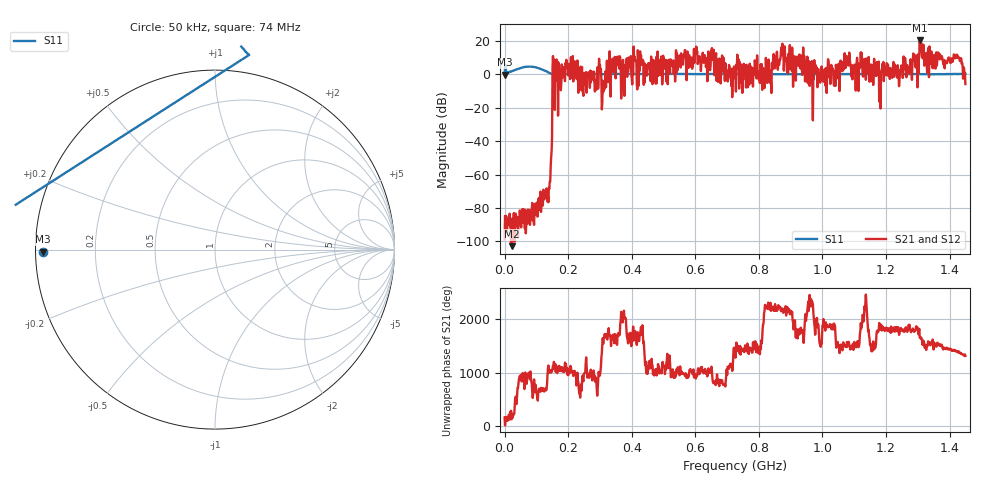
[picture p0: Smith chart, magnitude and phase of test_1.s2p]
! Created with skrf 1.11.0 (http://scikit-rf.org).
# Hz S RI R 50.0
!freq ReS11 ImS11 ReS21 ImS21 ReS12 ImS12 ReS22 ImS22
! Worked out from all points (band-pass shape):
!   1001 points, 50 kHz to 1.45 GHz, reference 50 ohm
!   highest |S21| = 20.14 dB at 1.306 GHz (marker M1); lowest = -102.8 dB at 23.25 MHz (marker M2)
!   |S21| within 3 dB of the highest: 873.9087 MHz to 874.592 MHz (683.3 kHz wide, 0.0782 % of centre); 1.308869 GHz to 1.312441 GHz (3.572 MHz wide, 0.273 % of centre) (the widest 2 of 5)
!   lowest |S11| = -0.3 dB at 50 kHz (marker M3), VSWR 49.84, Z = 1 - j0.309 ohm
!   |S11| at or under -10 dB: nowhere
!   |S22| runs from - to - dB; largest |S21 - S12| = 0
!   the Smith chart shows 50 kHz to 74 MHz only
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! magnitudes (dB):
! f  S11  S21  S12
! 50 kHz  -0.3  -98.9  -98.9
! 23.25 MHz  1.8  -102.8  -102.8
! 136.3 MHz  1.1  -72.6  -72.6
! 142.1 MHz  0.6  -64.2  -64.2
! 149.4 MHz  0.1  -37.4  -37.4
! 158.1 MHz  0.0  -21.3  -21.3
! 242.2 MHz  0.1  0.2  0.2
! 297.3 MHz  0.0  9.2  9.2
! 311.8 MHz  0.0  -6.6  -6.6
! 358.2 MHz  0.1  10.6  10.6
! 372.7 MHz  0.1  8.5  8.5
! 484.3 MHz  0.1  8.6  8.6
! 601.8 MHz  0.0  12.8  12.8
! 725 MHz  0.0  -2.5  -2.5
! 813.5 MHz  0.0  3.7  3.7
! 874.4 MHz  0.0  18.2  18.2
! 967.2 MHz  0.0  7.8  7.8
! 1.077 GHz  0.0  10.3  10.3
! 1.209 GHz  0.0  1.2  1.2
! 1.306 GHz  0.1  20.1  20.1
! 1.421 GHz  0.1  11.4  11.4
! 1.45 GHz  0.1  -5.9  -5.9
